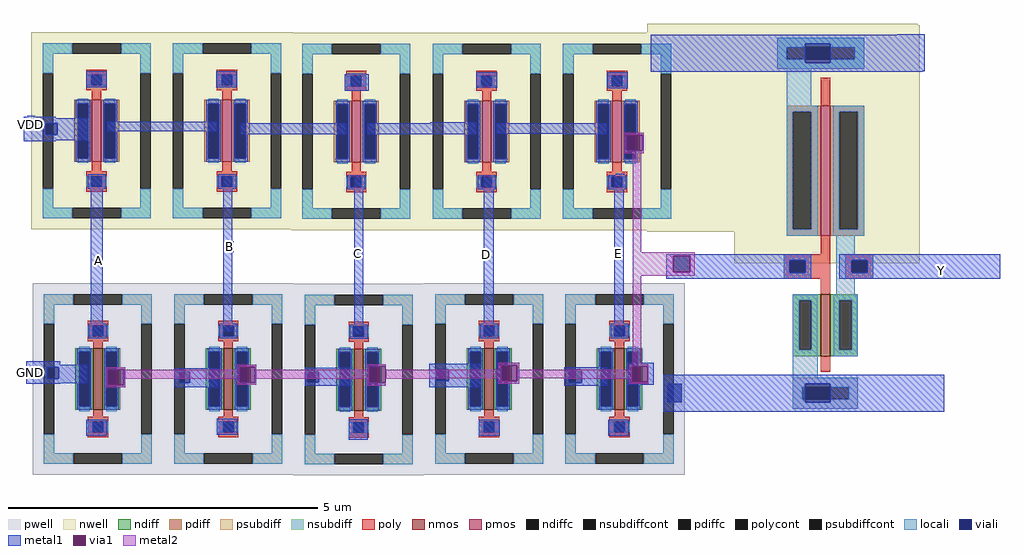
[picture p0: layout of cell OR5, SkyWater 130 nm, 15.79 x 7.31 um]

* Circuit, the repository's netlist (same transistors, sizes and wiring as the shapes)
* SPICE3 file created from OR5.ext - technology: sky130A

.subckt sky130_fd_pr__pfet_01v8_KBS6X7 B D S G VSUBS
X0 S G D B sky130_fd_pr__pfet_01v8 ad=0.29 pd=2.58 as=0.29 ps=2.58 w=1 l=0.15
.ends

.subckt sky130_fd_pr__nfet_01v8_SFU2NW B D S G
X0 S G D B sky130_fd_pr__nfet_01v8 ad=0.29 pd=2.58 as=0.29 ps=2.58 w=1 l=0.15
.ends

.subckt NOR5 Y E D A VDD B C GND
XXM5 VDD VDD XM7/D A GND sky130_fd_pr__pfet_01v8_KBS6X7
XXM6 GND GND Y A sky130_fd_pr__nfet_01v8_SFU2NW
XXM7 VDD XM7/D XM7/S B GND sky130_fd_pr__pfet_01v8_KBS6X7
XXM9 VDD XM9/D Y E GND sky130_fd_pr__pfet_01v8_KBS6X7
XXM8 GND GND Y B sky130_fd_pr__nfet_01v8_SFU2NW
Xsky130_fd_pr__pfet_01v8_KBS6X7_0 VDD XM7/S sky130_fd_pr__pfet_01v8_KBS6X7_1/D C GND
+ sky130_fd_pr__pfet_01v8_KBS6X7
Xsky130_fd_pr__pfet_01v8_KBS6X7_1 VDD sky130_fd_pr__pfet_01v8_KBS6X7_1/D XM9/D D GND
+ sky130_fd_pr__pfet_01v8_KBS6X7
Xsky130_fd_pr__nfet_01v8_SFU2NW_0 GND GND Y E sky130_fd_pr__nfet_01v8_SFU2NW
Xsky130_fd_pr__nfet_01v8_SFU2NW_2 GND GND Y D sky130_fd_pr__nfet_01v8_SFU2NW
Xsky130_fd_pr__nfet_01v8_SFU2NW_1 GND GND Y C sky130_fd_pr__nfet_01v8_SFU2NW
*C0 VDD GND 5.432726f
.ends

.subckt INV vdd vss out in
X0 out in vdd vdd sky130_fd_pr__pfet_01v8 ad=1.155 pd=5.3 as=1.155 ps=5.3 w=2.1 l=0.15
X1 out in vss vss sky130_fd_pr__nfet_01v8 ad=0.45 pd=2.9 as=0.45 ps=2.9 w=1 l=0.15
.ends

**.subckt OR5
XNOR5_0 NOR5_0/Y E D A VDD B C GND NOR5
XINV_0 VDD GND Y NOR5_0/Y INV
*C0 VDD GND 7.133043f
**.ends

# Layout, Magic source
magic
tech sky130A
<< nwell >>
rect 1003 392 1441 729
<< viali >>
rect 1036 116 1059 146
<< metal1 >>
rect 0 543 13 580
rect 322 359 334 377
rect 110 338 122 356
rect 532 350 544 368
rect 740 347 752 365
rect 951 351 963 369
rect 1469 318 1494 353
rect 1 146 14 183
<< via1 >>
rect 1045 327 1073 353
<< metal2 >>
rect 983 353 1080 359
rect 983 327 1045 353
rect 1073 327 1080 353
rect 983 321 1080 327
use INV  INV_0
transform 1 0 1294 0 1 491
box -285 -390 280 235
use NOR5  NOR5_0
transform 1 0 97 0 1 -11
box -102 9 967 726
<< labels >>
rlabel metal1 5 565 5 565 1 VDD
rlabel metal1 5 164 5 164 1 GND
rlabel metal1 115 346 115 346 1 A
rlabel metal1 327 368 327 368 1 B
rlabel metal1 535 357 535 357 1 C
rlabel metal1 744 356 744 356 1 D
rlabel metal1 957 357 957 357 1 E
rlabel metal1 1479 330 1479 330 1 Y
<< end >>

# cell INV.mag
magic
tech sky130A
<< nwell >>
rect -150 -150 150 235
<< nmos >>
rect -10 -300 5 -200
<< pmos >>
rect -10 -105 5 105
<< ndiff >>
rect -55 -210 -10 -200
rect -55 -290 -45 -210
rect -25 -290 -10 -210
rect -55 -300 -10 -290
rect 5 -210 50 -200
rect 5 -290 20 -210
rect 40 -290 50 -210
rect 5 -300 50 -290
<< pdiff >>
rect -65 95 -10 105
rect -65 -95 -55 95
rect -25 -95 -10 95
rect -65 -105 -10 -95
rect 5 95 60 105
rect 5 -95 20 95
rect 50 -95 60 95
rect 5 -105 60 -95
<< ndiffc >>
rect -45 -290 -25 -210
rect 20 -290 40 -210
<< pdiffc >>
rect -55 -95 -25 95
rect 20 -95 50 95
<< psubdiff >>
rect -55 -350 50 -335
rect -55 -370 -40 -350
rect 35 -370 50 -350
rect -55 -385 50 -370
<< nsubdiff >>
rect -80 200 60 215
rect -80 180 -65 200
rect 45 180 60 200
rect -80 165 60 180
<< psubdiffcont >>
rect -40 -370 35 -350
<< nsubdiffcont >>
rect -65 180 45 200
<< poly >>
rect -10 105 5 150
rect -10 -135 5 -105
rect -70 -145 5 -135
rect -70 -165 -60 -145
rect -35 -165 5 -145
rect -70 -175 5 -165
rect 30 -145 75 -135
rect 30 -165 40 -145
rect 65 -165 75 -145
rect 30 -175 75 -165
rect -10 -200 5 -175
rect -10 -325 5 -300
<< polycont >>
rect -60 -165 -35 -145
rect 40 -165 65 -145
<< locali >>
rect -80 205 60 215
rect -80 200 -35 205
rect 5 200 60 205
rect -80 180 -65 200
rect 45 180 60 200
rect -80 175 -35 180
rect 5 175 60 180
rect -80 165 60 175
rect -65 105 -25 165
rect -65 95 -15 105
rect -65 -95 -55 95
rect -25 -95 -15 95
rect -65 -105 -15 -95
rect 10 95 60 105
rect 10 -95 20 95
rect 50 -95 60 95
rect 10 -105 60 -95
rect 15 -135 45 -105
rect -70 -145 -25 -135
rect -70 -165 -60 -145
rect -35 -165 -25 -145
rect -70 -175 -25 -165
rect 15 -145 75 -135
rect 15 -165 40 -145
rect 65 -165 75 -145
rect 15 -175 75 -165
rect 15 -200 45 -175
rect -55 -210 -15 -200
rect -55 -290 -45 -210
rect -25 -290 -15 -210
rect -55 -335 -15 -290
rect 10 -210 50 -200
rect 10 -290 20 -210
rect 40 -290 50 -210
rect 10 -300 50 -290
rect -55 -345 50 -335
rect -55 -350 -35 -345
rect 5 -350 50 -345
rect -55 -370 -40 -350
rect 35 -370 50 -350
rect -55 -375 -35 -370
rect 5 -375 50 -370
rect -55 -385 50 -375
<< viali >>
rect -35 200 5 205
rect -35 180 5 200
rect -35 175 5 180
rect -60 -165 -35 -145
rect 40 -165 65 -145
rect -35 -350 5 -345
rect -35 -370 5 -350
rect -35 -375 5 -370
<< metal1 >>
rect 114 220 158 221
rect -285 205 158 220
rect -285 175 -35 205
rect 5 175 158 205
rect -285 161 158 175
rect -285 160 154 161
rect -260 -145 -25 -135
rect -260 -165 -60 -145
rect -35 -165 -25 -145
rect -260 -175 -25 -165
rect 20 -145 280 -135
rect 20 -165 40 -145
rect 65 -165 280 -145
rect 20 -175 280 -165
rect -265 -345 190 -330
rect -265 -375 -35 -345
rect 5 -375 190 -345
rect -265 -390 190 -375
<< labels >>
rlabel metal1 155 196 155 196 1 vdd
rlabel metal1 250 -165 265 -145 1 out
rlabel metal1 175 -360 175 -360 1 vss
rlabel metal1 -240 -165 -225 -145 1 in
<< end >>

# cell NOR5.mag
magic
tech sky130A
magscale 1 2
<< nwell >>
rect 1110 1122 1260 1160
rect 1326 1124 1586 1158
<< pwell >>
rect 680 332 1390 360
rect 680 330 1118 332
<< viali >>
rect -134 1120 -96 1158
rect -128 330 -92 368
rect 298 318 332 354
rect 714 320 750 354
rect 1128 324 1170 360
rect 1558 318 1600 360
<< metal1 >>
rect -2 1274 64 1326
rect 418 1274 484 1326
rect 842 1316 900 1318
rect 834 1262 912 1316
rect 1260 1272 1328 1322
rect 1684 1270 1750 1322
rect -204 1174 -102 1178
rect -204 1158 2 1174
rect -204 1120 -134 1158
rect -96 1120 2 1158
rect 66 1132 420 1162
rect 1110 1158 1260 1160
rect 498 1122 838 1158
rect 906 1122 1260 1158
rect 1326 1124 1682 1158
rect 1542 1122 1682 1124
rect -204 1102 2 1120
rect 1738 1120 1802 1126
rect -204 1100 -102 1102
rect 1738 1068 1744 1120
rect 1798 1068 1802 1120
rect 1738 1060 1802 1068
rect 1710 990 1738 994
rect 1710 988 1736 990
rect 12 470 50 986
rect 440 484 470 986
rect 864 968 890 986
rect 864 490 894 968
rect 864 474 890 490
rect 1284 466 1316 982
rect 1706 478 1736 988
rect 1706 472 1732 478
rect -196 376 -86 388
rect -196 368 0 376
rect 486 370 548 376
rect -196 330 -128 368
rect -92 330 0 368
rect -196 316 0 330
rect 62 362 124 368
rect -196 314 -86 316
rect 62 310 66 362
rect 118 310 124 362
rect 62 304 124 310
rect 284 354 424 364
rect 284 318 298 354
rect 332 318 424 354
rect 284 304 424 318
rect 486 318 492 370
rect 544 318 548 370
rect 906 372 966 378
rect 486 312 548 318
rect 704 354 850 366
rect 704 320 714 354
rect 750 320 850 354
rect 704 308 850 320
rect 906 318 912 372
rect 906 308 966 318
rect 1108 360 1272 380
rect 1108 324 1128 360
rect 1170 324 1272 360
rect 1108 304 1272 324
rect 1330 374 1398 382
rect 1330 322 1340 374
rect 1392 322 1398 374
rect 1750 372 1834 382
rect 1330 314 1398 322
rect 1544 360 1684 368
rect 1544 318 1558 360
rect 1600 318 1684 360
rect 1544 308 1684 318
rect 1750 320 1762 372
rect 1814 320 1834 372
rect 1750 312 1834 320
rect -2 146 64 198
rect 420 150 486 202
rect 846 134 908 200
rect 1268 146 1336 196
rect 1686 146 1752 198
<< via1 >>
rect 1744 1068 1798 1120
rect 66 310 118 362
rect 492 318 544 370
rect 912 318 966 372
rect 1340 322 1392 374
rect 1762 320 1814 372
<< metal2 >>
rect 1738 1120 1802 1126
rect 1738 1068 1744 1120
rect 1798 1068 1802 1120
rect 1738 1060 1802 1068
rect 486 370 548 376
rect 62 362 124 368
rect 62 310 66 362
rect 118 360 124 362
rect 486 360 492 370
rect 118 330 492 360
rect 118 310 124 330
rect 486 318 492 330
rect 544 360 548 370
rect 906 372 966 378
rect 906 360 912 372
rect 544 330 912 360
rect 544 318 548 330
rect 486 312 548 318
rect 906 318 912 330
rect 1330 374 1398 382
rect 1766 378 1794 1060
rect 1330 360 1340 374
rect 966 332 1340 360
rect 966 330 1120 332
rect 62 304 124 310
rect 906 308 966 318
rect 1330 322 1340 332
rect 1392 360 1398 374
rect 1754 372 1816 378
rect 1754 360 1762 372
rect 1392 332 1762 360
rect 1392 322 1398 332
rect 1542 330 1762 332
rect 1330 314 1398 322
rect 1754 320 1762 330
rect 1814 320 1816 372
rect 1754 314 1816 320
use sky130_fd_pr__nfet_01v8_SFU2NW  sky130_fd_pr__nfet_01v8_SFU2NW_0 /home/apn/mag_gates
transform 1 0 1723 0 1 330
box -211 -310 211 310
use sky130_fd_pr__nfet_01v8_SFU2NW  sky130_fd_pr__nfet_01v8_SFU2NW_1
transform 1 0 879 0 1 328
box -211 -310 211 310
use sky130_fd_pr__nfet_01v8_SFU2NW  sky130_fd_pr__nfet_01v8_SFU2NW_2
transform 1 0 1301 0 1 330
box -211 -310 211 310
use sky130_fd_pr__pfet_01v8_KBS6X7  sky130_fd_pr__pfet_01v8_KBS6X7_0 /home/apn/mag_gates
transform 1 0 871 0 1 1131
box -211 -319 211 319
use sky130_fd_pr__pfet_01v8_KBS6X7  sky130_fd_pr__pfet_01v8_KBS6X7_1
transform 1 0 1293 0 1 1131
box -211 -319 211 319
use sky130_fd_pr__pfet_01v8_KBS6X7  XM5
transform 1 0 31 0 1 1133
box -211 -319 211 319
use sky130_fd_pr__nfet_01v8_SFU2NW  XM6
transform 1 0 35 0 1 330
box -211 -310 211 310
use sky130_fd_pr__pfet_01v8_KBS6X7  XM7
transform 1 0 453 0 1 1133
box -211 -319 211 319
use sky130_fd_pr__nfet_01v8_SFU2NW  XM8
transform 1 0 457 0 1 330
box -211 -310 211 310
use sky130_fd_pr__pfet_01v8_KBS6X7  XM9
transform 1 0 1715 0 1 1131
box -211 -319 211 319
<< labels >>
rlabel metal1 -196 1130 -196 1130 1 VDD
rlabel metal1 -188 342 -188 342 1 GND
rlabel metal1 22 716 22 716 1 A
rlabel metal1 450 716 450 716 1 B
rlabel metal1 874 694 874 694 1 C
rlabel metal1 1824 342 1824 342 1 Y
rlabel metal1 1292 700 1292 700 1 D
rlabel metal1 1716 698 1716 698 1 E
<< end >>

# cell sky130_fd_pr__nfet_01v8_SFU2NW: kit device sky130_fd_pr__nfet_01v8, w 1.0 l 0.15 m 1 nf 1 diffcov 100 polycov 100 guard 1 glc 1 grc 1 gtc 1 gbc 1 tbcov 100 rlcov 100 topc 1 botc 1 poverlap 0 doverlap 1 lmin 0.15 wmin 0.42 class mosfet compatible {sky130_fd_pr__nfet_01v8 sky130_fd_pr__nfet_01v8_lvt sky130_fd_bs_flash__special_sonosfet_star sky130_fd_pr__nfet_g5v0d10v5 sky130_fd_pr__nfet_05v0_nvt sky130_fd_pr__nfet_03v3_nvt} full_metal 1 viasrc 100 viadrn 100 viagate 100 viagb 0 viagr 0 viagl 0 viagt 0 doports 1 ad {int((nf+1)/2) * W/nf * 0.29} as {int((nf+2)/2) * W/nf * 0.29} pd {2*int((nf+1)/2) * (W/nf + 0.29)} ps {2*int((nf+2)/2) * (W/nf + 0.29)} nrd {0.29 / W} nrs {0.29 / W} sa 0 sb 0 sd 0 mult 1

# cell sky130_fd_pr__pfet_01v8_KBS6X7: kit device sky130_fd_pr__pfet_01v8, w 1.0 l 0.15 m 1 nf 1 diffcov 100 polycov 100 guard 1 glc 1 grc 1 gtc 1 gbc 1 tbcov 100 rlcov 100 topc 1 botc 1 poverlap 0 doverlap 1 lmin 0.15 wmin 0.42 class mosfet compatible {sky130_fd_pr__pfet_01v8 sky130_fd_pr__pfet_01v8_lvt sky130_fd_pr__pfet_01v8_hvt sky130_fd_pr__pfet_g5v0d10v5} full_metal 1 viasrc 100 viadrn 100 viagate 100 viagb 0 viagr 0 viagl 0 viagt 0 doports 1 ad {int((nf+1)/2) * W/nf * 0.29} as {int((nf+2)/2) * W/nf * 0.29} pd {2*int((nf+1)/2) * (W/nf + 0.29)} ps {2*int((nf+2)/2) * (W/nf + 0.29)} nrd {0.29 / W} nrs {0.29 / W} sa 0 sb 0 sd 0 mult 1
